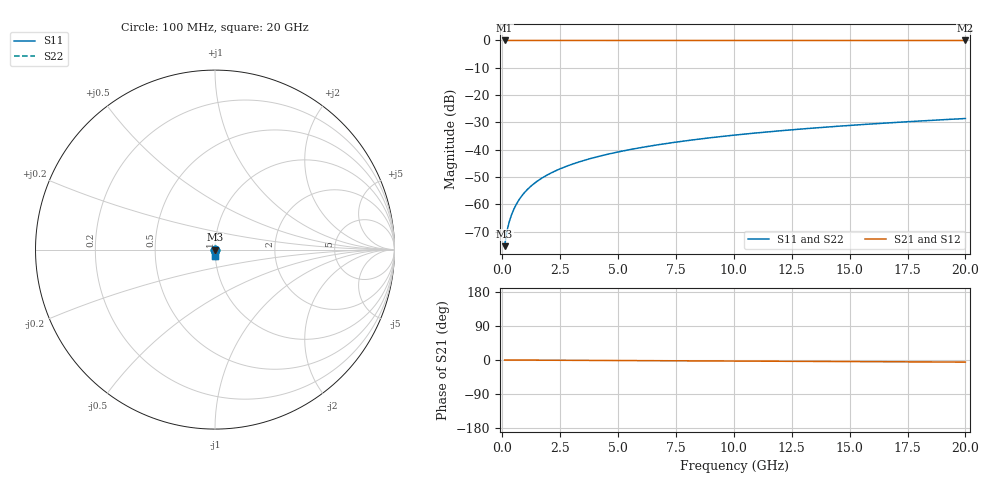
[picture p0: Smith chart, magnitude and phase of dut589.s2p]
! Touchstone file exported from HFSS 2026.1.0
!  File:  C:/ffzhzh/LocalFiles/Ansys_Project_Files/temp_train_TSV_589_1783025174_55676.aedt
!  Generated:  04:47:49 AM Jul  3, 2026
!  Design:  TSV
!  Project:  temp_train_TSV_589_1783025174_55676
! Variables:
!  h_bsmrdl = 2um
!  h_ox = 20um
!  h_rdl = 5um
!  h_sub = 51.22um
!  h_tmrdl = 5um
!  h_tsv = 51.22um
!  h_via = 3um
!  l_bsmrdl = 300um
!  l_sub = 423.58um
!  l_tmrdl = 200um
!  m_sub = 200um
!  pitch = 33.64um
!  r_tsv = 11.79um
!  s_tmrdl = 10um
!  w_bsmrdl = 18um
!  w_sub = 500um
!  w_tmrdl = 12um
!  x_tsv_center1 = 206um
!  x_tsv_center2 = 524um
!  x_tsv_center3 = 736um
!  x_tsv_center4 = 1054um
!  x_tsv_center5 = 1266um
!  x_tsv_center6 = 1584um
# GHz S MA R 50.000000
! Terminal data exported
! Port[1] = TSV1_1_T1
! Port[2] = TSV1_1_T2
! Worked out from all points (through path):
!   200 points, 100 MHz to 20 GHz, reference 50 ohm
!   highest |S21| = 0.00 dB at 100 MHz (marker M1); lowest = 0.0 dB at 20 GHz (marker M2)
!   lowest |S11| = -75.3 dB at 100 MHz (marker M3), VSWR 1.00, Z = 50 - j0.0153 ohm
!   |S11| at or under -10 dB: start of sweep to end of sweep
!   |S22| runs from -75.3 to -28.6 dB; largest |S21 - S12| = 1e-15
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0.1  0.0001719 -62.5  0.9999 -0.0  0.9999 -0.0  0.0001719 -62.5
! Gamma 0 0 0 0
! Port Impedance 50 0 50 0
0.2  0.0003209 -73.7  0.9999 -0.1  0.9999 -0.1  0.0003209 -73.7
0.3  0.0004802 -77.3  0.9999 -0.1  0.9999 -0.1  0.0004802 -77.3
0.4  0.0006464 -79.0  0.9999 -0.1  0.9999 -0.1  0.0006464 -79.0
0.5  0.0008182 -80.0  0.9999 -0.1  0.9999 -0.1  0.0008182 -80.0
0.7  0.001173 -81.4  0.9998 -0.2  0.9998 -0.2  0.001173 -81.4
0.8  0.001354 -82.0  0.9998 -0.2  0.9998 -0.2  0.001354 -82.0
1  0.00172 -82.9  0.9998 -0.3  0.9998 -0.3  0.00172 -82.9
1.2  0.002088 -83.7  0.9998 -0.3  0.9998 -0.3  0.002088 -83.7
1.4  0.002456 -84.4  0.9997 -0.4  0.9997 -0.4  0.002456 -84.4
1.7  0.003008 -85.2  0.9997 -0.5  0.9997 -0.5  0.003008 -85.2
2  0.00356 -85.8  0.9997 -0.6  0.9997 -0.6  0.00356 -85.8
2.7  0.004849 -86.8  0.9997 -0.8  0.9997 -0.8  0.004849 -86.8
3.5  0.006325 -87.6  0.9996 -1.0  0.9996 -1.0  0.006325 -87.6
4.2  0.007622 -88.1  0.9996 -1.2  0.9996 -1.2  0.007622 -88.1
5  0.009108 -88.6  0.9995 -1.4  0.9995 -1.4  0.009108 -88.6
6.8  0.01247 -89.5  0.9994 -1.9  0.9994 -1.9  0.01247 -89.5
8.3  0.01528 -90.1  0.9993 -2.3  0.9993 -2.3  0.01528 -90.1
10.1  0.01866 -90.8  0.9992 -2.8  0.9992 -2.8  0.01866 -90.8
13.4  0.02486 -92.0  0.9989 -3.7  0.9989 -3.7  0.02486 -92.0
16.7  0.03106 -93.1  0.9987 -4.6  0.9987 -4.6  0.03106 -93.1
20  0.03727 -94.1  0.9984 -5.5  0.9984 -5.5  0.03727 -94.1
